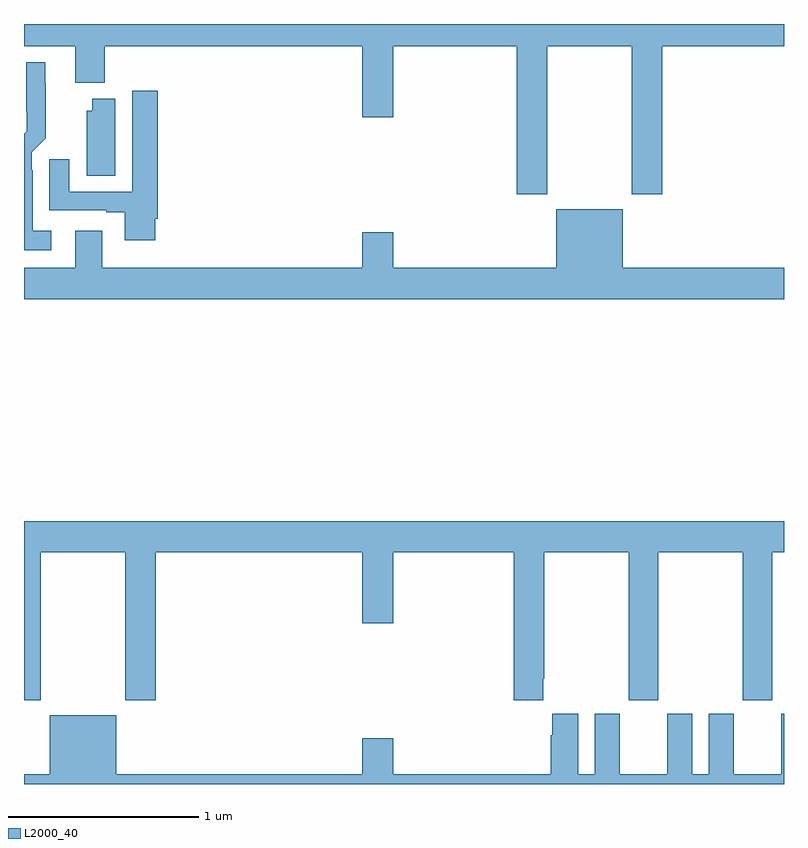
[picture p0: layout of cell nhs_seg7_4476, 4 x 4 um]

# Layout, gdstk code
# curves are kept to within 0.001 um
import gdstk
lib = gdstk.Library(unit=1e-6, precision=1e-09)
def P(c, l, *ps):  # polygons
    for p in ps: c.add(gdstk.Polygon(p, *l))
L2000_40 = (2000, 40)

nhs_seg7_4476 = lib.new_cell('nhs_seg7_4476')
P(nhs_seg7_4476, L2000_40, [(391,1065.884),(391.271,1065.884),(391.271,1065.692),(391.424,1065.692),(391.424,1065.884),(392.78,1065.884),(392.78,1065.51),(392.944,1065.51),(392.944,1065.884),(393.593,1065.884),(393.593,1065.105),(393.753,1065.105),(393.753,1065.884),(394.198,1065.884),(394.198,1065.105),(394.358,1065.105),(394.358,1065.884),(395,1065.884),(395,1066),(391,1066)],
  [(391.144,1064.911),(391.045,1064.911),(391.045,1065.23),(391.041,1065.23),(391.041,1065.324),(391.115,1065.398),(391.115,1065.689),(391.111,1065.689),(391.111,1065.799),(391.013,1065.799),(391.014,1065.436),(391,1065.422),(391,1064.81),(391.144,1064.81)],
  [(391.69,1064.974),(391.703,1064.974),(391.703,1065.649),(391.571,1065.649),(391.571,1065.117),(391.237,1065.117),(391.237,1065.289),(391.133,1065.289),(391.133,1065.021),(391.433,1065.021),(391.433,1065.009),(391.529,1065.009),(391.529,1064.862),(391.69,1064.862)],
  [(391.48,1065.607),(391.358,1065.607),(391.358,1065.543),(391.331,1065.543),(391.331,1065.202),(391.48,1065.202)],
  [(391.271,1064.911),(391.271,1064.716),(391,1064.716),(391,1064.552),(395,1064.552),(395,1064.716),(394.15,1064.716),(394.15,1065.025),(393.8,1065.025),(393.8,1064.716),(392.944,1064.716),(392.944,1064.905),(392.78,1064.905),(392.78,1064.716),(391.411,1064.716),(391.411,1064.911)],
  [(391.089,1063.22),(391.534,1063.22),(391.534,1062.441),(391.694,1062.441),(391.694,1063.22),(392.78,1063.22),(392.78,1062.846),(392.944,1062.846),(392.944,1063.22),(393.578,1063.22),(393.578,1062.441),(393.733,1062.441),(393.733,1062.553),(393.738,1062.553),(393.738,1063.22),(394.183,1063.22),(394.183,1062.441),(394.338,1062.441),(394.338,1063.22),(394.783,1063.22),(394.783,1062.441),(394.938,1062.441),(394.938,1063.22),(395,1063.22),(395,1063.384),(391,1063.384),(391,1062.441),(391.089,1062.441)],
  [(395,1062.37),(394.985,1062.37),(394.985,1062.052),(394.735,1062.052),(394.735,1062.37),(394.604,1062.37),(394.604,1062.052),(394.516,1062.052),(394.516,1062.37),(394.385,1062.37),(394.385,1062.052),(394.135,1062.052),(394.135,1062.37),(394.004,1062.37),(394.004,1062.052),(393.916,1062.052),(393.916,1062.37),(393.779,1062.37),(393.779,1062.257),(393.773,1062.257),(393.773,1062.052),(392.944,1062.052),(392.944,1062.241),(392.78,1062.241),(392.78,1062.052),(391.486,1062.052),(391.486,1062.361),(391.136,1062.361),(391.136,1062.052),(391,1062.052),(391,1062),(395,1062)])

lib.write_gds('nhs_seg7_4476.gds')
